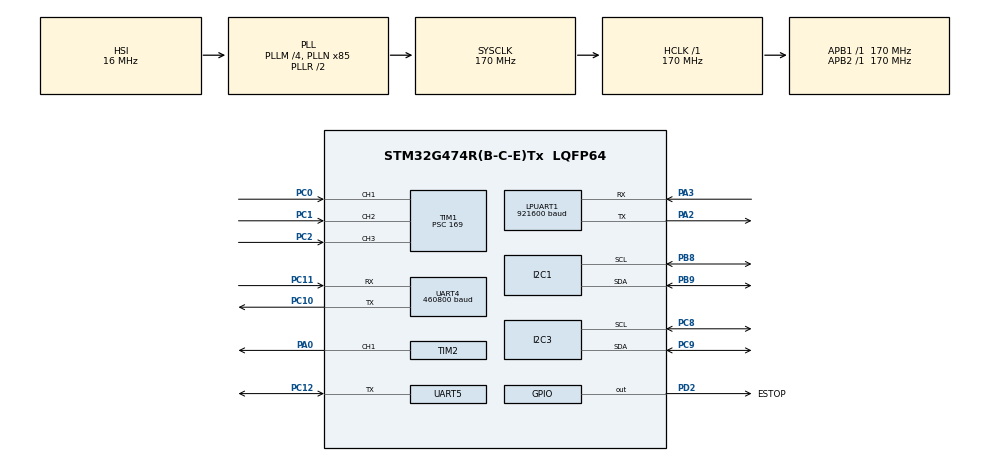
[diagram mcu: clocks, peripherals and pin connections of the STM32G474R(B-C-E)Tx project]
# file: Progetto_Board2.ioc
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Dma.Request0=TIM1_CH1
Dma.Request1=TIM1_CH2
Dma.Request2=TIM1_CH3
Dma.Request3=UART4_TX
Dma.Request4=UART4_RX
Dma.TIM1_CH1.0.Direction=DMA_PERIPH_TO_MEMORY
Dma.TIM1_CH1.0.EventEnable=DISABLE
Dma.TIM1_CH1.0.Instance=DMA1_Channel1
Dma.TIM1_CH1.0.MemDataAlignment=DMA_MDATAALIGN_HALFWORD
Dma.TIM1_CH1.0.MemInc=DMA_MINC_ENABLE
Dma.TIM1_CH1.0.Mode=DMA_CIRCULAR
Dma.TIM1_CH1.0.PeriphDataAlignment=DMA_PDATAALIGN_HALFWORD
Dma.TIM1_CH1.0.PeriphInc=DMA_PINC_DISABLE
Dma.TIM1_CH1.0.Polarity=HAL_DMAMUX_REQ_GEN_RISING
Dma.TIM1_CH1.0.Priority=DMA_PRIORITY_LOW
Dma.TIM1_CH1.0.RequestNumber=1
Dma.TIM1_CH1.0.SignalID=NONE
Dma.TIM1_CH1.0.SyncEnable=DISABLE
Dma.TIM1_CH1.0.SyncPolarity=HAL_DMAMUX_SYNC_NO_EVENT
Dma.TIM1_CH1.0.SyncRequestNumber=1
Dma.TIM1_CH1.0.SyncSignalID=NONE
Dma.TIM1_CH2.1.Direction=DMA_PERIPH_TO_MEMORY
Dma.TIM1_CH2.1.EventEnable=DISABLE
Dma.TIM1_CH2.1.Instance=DMA1_Channel2
Dma.TIM1_CH2.1.MemDataAlignment=DMA_MDATAALIGN_HALFWORD
Dma.TIM1_CH2.1.MemInc=DMA_MINC_ENABLE
Dma.TIM1_CH2.1.Mode=DMA_CIRCULAR
Dma.TIM1_CH2.1.PeriphDataAlignment=DMA_PDATAALIGN_HALFWORD
Dma.TIM1_CH2.1.PeriphInc=DMA_PINC_DISABLE
Dma.TIM1_CH2.1.Polarity=HAL_DMAMUX_REQ_GEN_RISING
Dma.TIM1_CH2.1.Priority=DMA_PRIORITY_LOW
Dma.TIM1_CH2.1.RequestNumber=1
Dma.TIM1_CH2.1.SignalID=NONE
Dma.TIM1_CH2.1.SyncEnable=DISABLE
Dma.TIM1_CH2.1.SyncPolarity=HAL_DMAMUX_SYNC_NO_EVENT
Dma.TIM1_CH2.1.SyncRequestNumber=1
Dma.TIM1_CH2.1.SyncSignalID=NONE
Dma.TIM1_CH3.2.Direction=DMA_PERIPH_TO_MEMORY
Dma.TIM1_CH3.2.EventEnable=DISABLE
Dma.TIM1_CH3.2.Instance=DMA1_Channel3
Dma.TIM1_CH3.2.MemDataAlignment=DMA_MDATAALIGN_HALFWORD
Dma.TIM1_CH3.2.MemInc=DMA_MINC_ENABLE
Dma.TIM1_CH3.2.Mode=DMA_CIRCULAR
Dma.TIM1_CH3.2.PeriphDataAlignment=DMA_PDATAALIGN_HALFWORD
Dma.TIM1_CH3.2.PeriphInc=DMA_PINC_DISABLE
Dma.TIM1_CH3.2.Polarity=HAL_DMAMUX_REQ_GEN_RISING
Dma.TIM1_CH3.2.Priority=DMA_PRIORITY_LOW
Dma.TIM1_CH3.2.RequestNumber=1
Dma.TIM1_CH3.2.SignalID=NONE
Dma.TIM1_CH3.2.SyncEnable=DISABLE
Dma.TIM1_CH3.2.SyncPolarity=HAL_DMAMUX_SYNC_NO_EVENT
Dma.TIM1_CH3.2.SyncRequestNumber=1
Dma.TIM1_CH3.2.SyncSignalID=NONE
Dma.UART4_RX.4.Direction=DMA_PERIPH_TO_MEMORY
Dma.UART4_RX.4.EventEnable=DISABLE
Dma.UART4_RX.4.Instance=DMA1_Channel5
Dma.UART4_RX.4.MemDataAlignment=DMA_MDATAALIGN_BYTE
Dma.UART4_RX.4.MemInc=DMA_MINC_ENABLE
Dma.UART4_RX.4.Mode=DMA_CIRCULAR
Dma.UART4_RX.4.PeriphDataAlignment=DMA_PDATAALIGN_BYTE
Dma.UART4_RX.4.PeriphInc=DMA_PINC_DISABLE
Dma.UART4_RX.4.Polarity=HAL_DMAMUX_REQ_GEN_RISING
Dma.UART4_RX.4.Priority=DMA_PRIORITY_LOW
Dma.UART4_RX.4.RequestNumber=1
Dma.UART4_RX.4.SignalID=NONE
Dma.UART4_RX.4.SyncEnable=DISABLE
Dma.UART4_RX.4.SyncPolarity=HAL_DMAMUX_SYNC_NO_EVENT
Dma.UART4_RX.4.SyncRequestNumber=1
Dma.UART4_RX.4.SyncSignalID=NONE
Dma.UART4_TX.3.Direction=DMA_MEMORY_TO_PERIPH
Dma.UART4_TX.3.EventEnable=DISABLE
Dma.UART4_TX.3.Instance=DMA1_Channel4
Dma.UART4_TX.3.MemDataAlignment=DMA_MDATAALIGN_BYTE
Dma.UART4_TX.3.MemInc=DMA_MINC_ENABLE
Dma.UART4_TX.3.Mode=DMA_NORMAL
Dma.UART4_TX.3.PeriphDataAlignment=DMA_PDATAALIGN_BYTE
Dma.UART4_TX.3.PeriphInc=DMA_PINC_DISABLE
Dma.UART4_TX.3.Polarity=HAL_DMAMUX_REQ_GEN_RISING
Dma.UART4_TX.3.Priority=DMA_PRIORITY_LOW
Dma.UART4_TX.3.RequestNumber=1
Dma.UART4_TX.3.SignalID=NONE
Dma.UART4_TX.3.SyncEnable=DISABLE
Dma.UART4_TX.3.SyncPolarity=HAL_DMAMUX_SYNC_NO_EVENT
Dma.UART4_TX.3.SyncRequestNumber=1
Dma.UART4_TX.3.SyncSignalID=NONE
FREERTOS.Mutexes01=mutex_Ble,Static,mutex_BleControlBlock,Available;mutex_Imu,Static,mutex_ImuControlBlock,Available;mutex_UartRx,Static,mutex_UartRxControlBlock,Available;mutex_Sonar,Static,mutex_SonarControlBlock,Available;mutex_Supervisor,Static,mutex_SupervisorControlBlock,Available
FREERTOS.Tasks01=defaultTask,24,128,StartDefaultTask,Default,NULL,Static,defaultTaskBuffer,defaultTaskControlBlock;Task_ReadBLE,24,256,StartTask_ReadBLE,Default,NULL,Static,Task_ReadBLEBuffer,Task_ReadBLEControlBlock;Task_ReadIMU,8,256,StartTask_ReadIMU,Default,NULL,Static,Task_ReadIMUBuffer,Task_ReadIMUControlBlock;Task_ReadSonars,32,256,StartTask_ReadSonars,Default,NULL,Static,Task_ReadSonarsBuffer,Task_ReadSonarsControlBlock;Task_Rx,24,256,StartTask_Rx,Default,NULL,Static,Task_RxBuffer,Task_RxControlBlock;Task_Tx,32,256,StartTask_Tx,Default,NULL,Static,Task_TxBuffer,Task_TxControlBlock;Task_Supervisor,32,256,StartTask_Supervisor,Default,NULL,Static,Task_SupervisorBuffer,Task_SupervisorControlBlock;Task_Log,8,512,StartTask_Log,Default,NULL,Static,Task_LogBuffer,Task_LogControlBlock
FREERTOS.configCHECK_FOR_STACK_OVERFLOW=2
FREERTOS.configTOTAL_HEAP_SIZE=1500
FREERTOS.configUSE_NEWLIB_REENTRANT=1
I2C1.CustomTiming=Enabled
I2C1.Speed=100
I2C1.Timing=0x40B285C2
I2C3.Timing=0x40B285C2
LPUART1.BaudRate=921600
Mcu.Family=STM32G4
Mcu.Name=STM32G474R(B-C-E)Tx
Mcu.Package=LQFP64
NVIC.DMA1_Channel1_IRQn=true\:5\:0\:false\:false\:true\:true\:false\:true\:true
NVIC.DMA1_Channel2_IRQn=true\:5\:0\:false\:false\:true\:true\:false\:true\:true
NVIC.DMA1_Channel3_IRQn=true\:5\:0\:false\:false\:true\:true\:false\:true\:true
NVIC.DMA1_Channel4_IRQn=true\:5\:0\:false\:false\:true\:true\:false\:true\:true
NVIC.DMA1_Channel5_IRQn=true\:5\:0\:false\:false\:true\:true\:false\:true\:true
NVIC.PriorityGroup=NVIC_PRIORITYGROUP_4
NVIC.TIM6_DAC_IRQn=true\:15\:0\:false\:false\:true\:false\:false\:true\:true
NVIC.TimeBase=TIM6_DAC_IRQn
NVIC.TimeBaseIP=TIM6
NVIC.UART4_IRQn=true\:5\:0\:false\:false\:true\:true\:true\:true\:true
NVIC.UART5_IRQn=true\:5\:0\:false\:false\:true\:true\:true\:true\:true
PA0.Signal=S_TIM2_CH1
PA2.Mode=Asynchronous
PA2.Signal=LPUART1_TX
PA3.Mode=Asynchronous
PA3.Signal=LPUART1_RX
PB8-BOOT0.GPIO_Pu=GPIO_PULLUP
PB8-BOOT0.Mode=I2C
PB8-BOOT0.Signal=I2C1_SCL
PB9.GPIO_Pu=GPIO_PULLUP
PB9.Mode=I2C
PB9.Signal=I2C1_SDA
PC0.Signal=S_TIM1_CH1
PC1.Signal=S_TIM1_CH2
PC10.Mode=Asynchronous
PC10.Signal=UART4_TX
PC11.Mode=Asynchronous
PC11.Signal=UART4_RX
PC12.Mode=Half_duplex(single_wire_mode)
PC12.Signal=UART5_TX
PC2.Signal=S_TIM1_CH3
PC8.GPIO_Pu=GPIO_PULLUP
PC8.Mode=I2C
PC8.Signal=I2C3_SCL
PC9.GPIO_Pu=GPIO_PULLUP
PC9.Mode=I2C
PC9.Signal=I2C3_SDA
PD2.GPIO_Label=ESTOP
PD2.GPIO_PuPd=GPIO_PULLUP
PD2.Signal=GPIO_Output
ProjectManager.HeapSize=0x200
ProjectManager.StackSize=0x400
ProjectManager.TargetToolchain=STM32CubeIDE
RCC.ADC12Freq_Value=170000000
RCC.ADC345Freq_Value=170000000
RCC.AHBFreq_Value=170000000
RCC.APB1Freq_Value=170000000
RCC.APB1TimFreq_Value=170000000
RCC.APB2Freq_Value=170000000
RCC.APB2TimFreq_Value=170000000
RCC.CortexFreq_Value=170000000
RCC.EXTERNAL_CLOCK_VALUE=12288000
RCC.HCLKFreq_Value=170000000
RCC.HSE_VALUE=8000000
RCC.HSI48_VALUE=48000000
RCC.HSI_VALUE=16000000
RCC.LSE_VALUE=32768
RCC.PLLM=RCC_PLLM_DIV4
RCC.PLLN=85
RCC.SYSCLKFreq_VALUE=170000000
RCC.SYSCLKSource=RCC_SYSCLKSOURCE_PLLCLK
RCC.USBFreq_Value=170000000
RCC.VCOOutputFreq_Value=340000000
SH.S_TIM1_CH1.0=TIM1_CH1,Input_Capture1_from_TI1
SH.S_TIM1_CH2.0=TIM1_CH2,Input_Capture2_from_TI2
SH.S_TIM1_CH3.0=TIM1_CH3,Input_Capture3_from_TI3
SH.S_TIM2_CH1.0=TIM2_CH1,PWM Generation1 CH1
TIM1.Channel-Input_Capture1_from_TI1=TIM_CHANNEL_1
TIM1.Channel-Input_Capture2_from_TI2=TIM_CHANNEL_2
TIM1.Channel-Input_Capture3_from_TI3=TIM_CHANNEL_3
TIM1.ICFilter_CH1=10
TIM1.ICFilter_CH2=10
TIM1.ICFilter_CH3=10
TIM1.ICPolarity_CH1=TIM_INPUTCHANNELPOLARITY_BOTHEDGE
TIM1.ICPolarity_CH2=TIM_INPUTCHANNELPOLARITY_BOTHEDGE
TIM1.ICPolarity_CH3=TIM_INPUTCHANNELPOLARITY_BOTHEDGE
TIM1.Prescaler=169
TIM2.Channel-PWM\ Generation1\ CH1=TIM_CHANNEL_1
TIM2.OCPolarity_1=TIM_OCPOLARITY_LOW
TIM2.PeriodNoDither=19
TIM2.Prescaler=169
TIM2.PulseNoDither_1=10
UART4.BaudRate=460800
UART5.BaudRate=38400
VP_FREERTOS_VS_CMSIS_V2.Mode=CMSIS_V2
VP_SYS_VS_DBSignals.Mode=DisableDeadBatterySignals
VP_SYS_VS_tim6.Mode=TIM6
VP_TIM2_VS_OPM.Mode=OPM_bit
board=custom

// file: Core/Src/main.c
/* USER CODE BEGIN Header */
/**
  ******************************************************************************
  * @file           : main.c
  * @brief          : Main program body
  ******************************************************************************
  * @attention
  *
  * Copyright (c) 2026 STMicroelectronics.
  * All rights reserved.
  *
  * This software is licensed under terms that can be found in the LICENSE file
  * in the root directory of this software component.
  * If no LICENSE file comes with this software, it is provided AS-IS.
  *
  ******************************************************************************
  */
/* USER CODE END Header */
#include "main.h"
#include "cmsis_os.h"
#include "dma.h"
#include "i2c.h"
#include "usart.h"
#include "tim.h"
#include "gpio.h"

/* USER CODE BEGIN Includes */
#include "comm/comm_uart.h"
/* USER CODE END Includes */

void SystemClock_Config(void);
void MX_FREERTOS_Init(void);
/* USER CODE BEGIN PFP */
#include "core_cm4.h"
  void DWT_Init(void)
  {
      CoreDebug->DEMCR |= CoreDebug_DEMCR_TRCENA_Msk;
      DWT->CYCCNT = 0;
      DWT->CTRL |= DWT_CTRL_CYCCNTENA_Msk;
  }
/* USER CODE END PFP */

int main(void)
{

  /* MCU Configuration--------------------------------------------------------*/

  /* Reset of all peripherals, Initializes the Flash interface and the Systick. */
  HAL_Init();

  /* Configure the system clock */
  SystemClock_Config();

  /* Initialize all configured peripherals */
  MX_GPIO_Init();
  MX_DMA_Init();
  MX_TIM1_Init();
  MX_TIM2_Init();
  MX_I2C1_Init();
  MX_LPUART1_UART_Init();
  MX_UART4_Init();
  MX_I2C3_Init();
  MX_UART5_Init();
  /* USER CODE BEGIN 2 */
  DWT_Init();
  CommUart_EarlyInit();  // aggiunto

  /* USER CODE END 2 */

  /* Init scheduler */
  osKernelInitialize();  /* Call init function for freertos objects (in cmsis_os2.c) */
  MX_FREERTOS_Init();

  /* Start scheduler */
  osKernelStart();

  /* We should never get here as control is now taken by the scheduler */

  /* Infinite loop */
  while (1)
  {

  }
}

void SystemClock_Config(void)
{
  RCC_OscInitTypeDef RCC_OscInitStruct = {0};
  RCC_ClkInitTypeDef RCC_ClkInitStruct = {0};

  /** Configure the main internal regulator output voltage
  */
  HAL_PWREx_ControlVoltageScaling(PWR_REGULATOR_VOLTAGE_SCALE1_BOOST);

  /** Initializes the RCC Oscillators according to the specified parameters
  * in the RCC_OscInitTypeDef structure.
  */
  RCC_OscInitStruct.OscillatorType = RCC_OSCILLATORTYPE_HSI;
  RCC_OscInitStruct.HSIState = RCC_HSI_ON;
  RCC_OscInitStruct.HSICalibrationValue = RCC_HSICALIBRATION_DEFAULT;
  RCC_OscInitStruct.PLL.PLLState = RCC_PLL_ON;
  RCC_OscInitStruct.PLL.PLLSource = RCC_PLLSOURCE_HSI;
  RCC_OscInitStruct.PLL.PLLM = RCC_PLLM_DIV4;
  RCC_OscInitStruct.PLL.PLLN = 85;
  RCC_OscInitStruct.PLL.PLLP = RCC_PLLP_DIV2;
  RCC_OscInitStruct.PLL.PLLQ = RCC_PLLQ_DIV2;
  RCC_OscInitStruct.PLL.PLLR = RCC_PLLR_DIV2;
  if (HAL_RCC_OscConfig(&RCC_OscInitStruct) != HAL_OK)
  {
    Error_Handler();
  }

  /** Initializes the CPU, AHB and APB buses clocks
  */
  RCC_ClkInitStruct.ClockType = RCC_CLOCKTYPE_HCLK|RCC_CLOCKTYPE_SYSCLK
                              |RCC_CLOCKTYPE_PCLK1|RCC_CLOCKTYPE_PCLK2;
  RCC_ClkInitStruct.SYSCLKSource = RCC_SYSCLKSOURCE_PLLCLK;
  RCC_ClkInitStruct.AHBCLKDivider = RCC_SYSCLK_DIV1;
  RCC_ClkInitStruct.APB1CLKDivider = RCC_HCLK_DIV1;
  RCC_ClkInitStruct.APB2CLKDivider = RCC_HCLK_DIV1;

  if (HAL_RCC_ClockConfig(&RCC_ClkInitStruct, FLASH_LATENCY_4) != HAL_OK)
  {
    Error_Handler();
  }
}

void HAL_TIM_PeriodElapsedCallback(TIM_HandleTypeDef *htim)
{
  if (htim->Instance == TIM6)
  {
    HAL_IncTick();
  }
}

void Error_Handler(void)
{
  __disable_irq();
  while (1)
  {
  }
}

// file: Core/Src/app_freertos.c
/* USER CODE BEGIN Header */
/**
  ******************************************************************************
  * File Name          : app_freertos.c
  * Description        : Code for freertos applications
  ******************************************************************************
  * @attention
  *
  * Copyright (c) 2026 STMicroelectronics.
  * All rights reserved.
  *
  * This software is licensed under terms that can be found in the LICENSE file
  * in the root directory of this software component.
  * If no LICENSE file comes with this software, it is provided AS-IS.
  *
  ******************************************************************************
  */
/* USER CODE END Header */

#include "FreeRTOS.h"
#include "task.h"
#include "main.h"
#include "cmsis_os.h"

/* USER CODE BEGIN Includes */
#include "BLE_Controller/ble_controller_task.h"
#include "comm/comm_rx_task.h"
#include "comm/comm_tx_task.h"
#include "IMU/imu_task.h"
#include "sonar/sonar_task.h"
#include "log/log_task.h"
#include "supervisor/supervisor_task.h"
#include "snapshot/snapshot.h"
/* USER CODE END Includes */

typedef StaticTask_t osStaticThreadDef_t;
typedef StaticSemaphore_t osStaticMutexDef_t;

/* USER CODE BEGIN PD */
/** @brief Periodo task BLE [ms]. */
#define TASK_BLE_PERIOD_MS         20U
/** @brief Periodo task IMU [ms]. */
#define TASK_IMU_PERIOD_MS         20U
/** @brief Periodo task sonar [ms]. */
#define TASK_SONAR_PERIOD_MS       60U
/** @brief Periodo task TX [ms]. */
#define TASK_TX_PERIOD_MS          20U
/** @brief Periodo task supervisore [ms]. */
#define TASK_SUPERVISOR_PERIOD_MS  20U
/** @brief Periodo task log [ms]. */
#define TASK_LOG_PERIOD_MS      1000U

/* USER CODE END PD */

/* Definitions for defaultTask */
osThreadId_t defaultTaskHandle;
uint32_t defaultTaskBuffer[ 128 ];
osStaticThreadDef_t defaultTaskControlBlock;
const osThreadAttr_t defaultTask_attributes = {
  .name = "defaultTask",
  .stack_mem = &defaultTaskBuffer[0],
  .stack_size = sizeof(defaultTaskBuffer),
  .cb_mem = &defaultTaskControlBlock,
  .cb_size = sizeof(defaultTaskControlBlock),
  .priority = (osPriority_t) osPriorityNormal,
};
/* Definitions for Task_ReadBLE */
osThreadId_t Task_ReadBLEHandle;
uint32_t Task_ReadBLEBuffer[ 256 ];
osStaticThreadDef_t Task_ReadBLEControlBlock;
const osThreadAttr_t Task_ReadBLE_attributes = {
  .name = "Task_ReadBLE",
  .stack_mem = &Task_ReadBLEBuffer[0],
  .stack_size = sizeof(Task_ReadBLEBuffer),
  .cb_mem = &Task_ReadBLEControlBlock,
  .cb_size = sizeof(Task_ReadBLEControlBlock),
  .priority = (osPriority_t) osPriorityNormal,
};
/* Definitions for Task_ReadIMU */
osThreadId_t Task_ReadIMUHandle;
uint32_t Task_ReadIMUBuffer[ 256 ];
osStaticThreadDef_t Task_ReadIMUControlBlock;
const osThreadAttr_t Task_ReadIMU_attributes = {
  .name = "Task_ReadIMU",
  .stack_mem = &Task_ReadIMUBuffer[0],
  .stack_size = sizeof(Task_ReadIMUBuffer),
  .cb_mem = &Task_ReadIMUControlBlock,
  .cb_size = sizeof(Task_ReadIMUControlBlock),
  .priority = (osPriority_t) osPriorityLow,
};
/* Definitions for Task_ReadSonars */
osThreadId_t Task_ReadSonarsHandle;
uint32_t Task_ReadSonarsBuffer[ 256 ];
osStaticThreadDef_t Task_ReadSonarsControlBlock;
const osThreadAttr_t Task_ReadSonars_attributes = {
  .name = "Task_ReadSonars",
  .stack_mem = &Task_ReadSonarsBuffer[0],
  .stack_size = sizeof(Task_ReadSonarsBuffer),
  .cb_mem = &Task_ReadSonarsControlBlock,
  .cb_size = sizeof(Task_ReadSonarsControlBlock),
  .priority = (osPriority_t) osPriorityAboveNormal,
};
/* Definitions for Task_Rx */
osThreadId_t Task_RxHandle;
uint32_t Task_RxBuffer[ 256 ];
osStaticThreadDef_t Task_RxControlBlock;
const osThreadAttr_t Task_Rx_attributes = {
  .name = "Task_Rx",
  .stack_mem = &Task_RxBuffer[0],
  .stack_size = sizeof(Task_RxBuffer),
  .cb_mem = &Task_RxControlBlock,
  .cb_size = sizeof(Task_RxControlBlock),
  .priority = (osPriority_t) osPriorityNormal,
};
/* Definitions for Task_Tx */
osThreadId_t Task_TxHandle;
uint32_t Task_TxBuffer[ 256 ];
osStaticThreadDef_t Task_TxControlBlock;
const osThreadAttr_t Task_Tx_attributes = {
  .name = "Task_Tx",
  .stack_mem = &Task_TxBuffer[0],
  .stack_size = sizeof(Task_TxBuffer),
  .cb_mem = &Task_TxControlBlock,
  .cb_size = sizeof(Task_TxControlBlock),
  .priority = (osPriority_t) osPriorityAboveNormal,
};
/* Definitions for Task_Supervisor */
osThreadId_t Task_SupervisorHandle;
uint32_t Task_SupervisorBuffer[ 256 ];
osStaticThreadDef_t Task_SupervisorControlBlock;
const osThreadAttr_t Task_Supervisor_attributes = {
  .name = "Task_Supervisor",
  .stack_mem = &Task_SupervisorBuffer[0],
  .stack_size = sizeof(Task_SupervisorBuffer),
  .cb_mem = &Task_SupervisorControlBlock,
  .cb_size = sizeof(Task_SupervisorControlBlock),
  .priority = (osPriority_t) osPriorityAboveNormal,
};
/* Definitions for Task_Log */
osThreadId_t Task_LogHandle;
uint32_t Task_LogBuffer[ 512 ];
osStaticThreadDef_t Task_LogControlBlock;
const osThreadAttr_t Task_Log_attributes = {
  .name = "Task_Log",
  .stack_mem = &Task_LogBuffer[0],
  .stack_size = sizeof(Task_LogBuffer),
  .cb_mem = &Task_LogControlBlock,
  .cb_size = sizeof(Task_LogControlBlock),
  .priority = (osPriority_t) osPriorityLow,
};
/* Definitions for mutex_Ble */
osMutexId_t mutex_BleHandle;
osStaticMutexDef_t mutex_BleControlBlock;
const osMutexAttr_t mutex_Ble_attributes = {
  .name = "mutex_Ble",
  .cb_mem = &mutex_BleControlBlock,
  .cb_size = sizeof(mutex_BleControlBlock),
};
/* Definitions for mutex_Imu */
osMutexId_t mutex_ImuHandle;
osStaticMutexDef_t mutex_ImuControlBlock;
const osMutexAttr_t mutex_Imu_attributes = {
  .name = "mutex_Imu",
  .cb_mem = &mutex_ImuControlBlock,
  .cb_size = sizeof(mutex_ImuControlBlock),
};
/* Definitions for mutex_UartRx */
osMutexId_t mutex_UartRxHandle;
osStaticMutexDef_t mutex_UartRxControlBlock;
const osMutexAttr_t mutex_UartRx_attributes = {
  .name = "mutex_UartRx",
  .cb_mem = &mutex_UartRxControlBlock,
  .cb_size = sizeof(mutex_UartRxControlBlock),
};
/* Definitions for mutex_Sonar */
osMutexId_t mutex_SonarHandle;
osStaticMutexDef_t mutex_SonarControlBlock;
const osMutexAttr_t mutex_Sonar_attributes = {
  .name = "mutex_Sonar",
  .cb_mem = &mutex_SonarControlBlock,
  .cb_size = sizeof(mutex_SonarControlBlock),
};
/* Definitions for mutex_Supervisor */
osMutexId_t mutex_SupervisorHandle;
osStaticMutexDef_t mutex_SupervisorControlBlock;
const osMutexAttr_t mutex_Supervisor_attributes = {
  .name = "mutex_Supervisor",
  .cb_mem = &mutex_SupervisorControlBlock,
  .cb_size = sizeof(mutex_SupervisorControlBlock),
};

void StartDefaultTask(void *argument);
void StartTask_ReadBLE(void *argument);
void StartTask_ReadIMU(void *argument);
void StartTask_ReadSonars(void *argument);
void StartTask_Rx(void *argument);
void StartTask_Tx(void *argument);
void StartTask_Supervisor(void *argument);
void StartTask_Log(void *argument);

void MX_FREERTOS_Init(void); /* (MISRA C 2004 rule 8.1) */

/* Hook prototypes */
void vApplicationStackOverflowHook(xTaskHandle xTask, signed char *pcTaskName);

/* USER CODE BEGIN 4 */
void vApplicationStackOverflowHook(xTaskHandle xTask, signed char *pcTaskName)
{
   (void)xTask;
   (void)pcTaskName;
   /* Run time stack overflow checking is performed if
   configCHECK_FOR_STACK_OVERFLOW is defined to 1 or 2. This hook function is
   called if a stack overflow is detected. */
}
/* USER CODE END 4 */

void MX_FREERTOS_Init(void) {
  /* Create the mutex(es) */
  /* creation of mutex_Ble */
  mutex_BleHandle = osMutexNew(&mutex_Ble_attributes);

  /* creation of mutex_Imu */
  mutex_ImuHandle = osMutexNew(&mutex_Imu_attributes);

  /* creation of mutex_UartRx */
  mutex_UartRxHandle = osMutexNew(&mutex_UartRx_attributes);

  /* creation of mutex_Sonar */
  mutex_SonarHandle = osMutexNew(&mutex_Sonar_attributes);

  /* creation of mutex_Supervisor */
  mutex_SupervisorHandle = osMutexNew(&mutex_Supervisor_attributes);

  /* USER CODE BEGIN RTOS_MUTEX */
  BleControllerSnapshot_MutexInit(mutex_BleHandle);
  IMUSnapshot_MutexInit(mutex_ImuHandle);
  RxSnapshot_MutexInit(mutex_UartRxHandle);
  SonarSnapshot_MutexInit(mutex_SonarHandle);
  SupervisorSnapshot_MutexInit(mutex_SupervisorHandle);
  /* USER CODE END RTOS_MUTEX */

  /* Create the thread(s) */
  /* creation of defaultTask */
  defaultTaskHandle = osThreadNew(StartDefaultTask, NULL, &defaultTask_attributes);

  /* creation of Task_ReadBLE */
  Task_ReadBLEHandle = osThreadNew(StartTask_ReadBLE, NULL, &Task_ReadBLE_attributes);

  /* creation of Task_ReadIMU */
  Task_ReadIMUHandle = osThreadNew(StartTask_ReadIMU, NULL, &Task_ReadIMU_attributes);

  /* creation of Task_ReadSonars */
  Task_ReadSonarsHandle = osThreadNew(StartTask_ReadSonars, NULL, &Task_ReadSonars_attributes);

  /* creation of Task_Rx */
  Task_RxHandle = osThreadNew(StartTask_Rx, NULL, &Task_Rx_attributes);

  /* creation of Task_Tx */
  Task_TxHandle = osThreadNew(StartTask_Tx, NULL, &Task_Tx_attributes);

  /* creation of Task_Supervisor */
  Task_SupervisorHandle = osThreadNew(StartTask_Supervisor, NULL, &Task_Supervisor_attributes);

  /* creation of Task_Log */
  Task_LogHandle = osThreadNew(StartTask_Log, NULL, &Task_Log_attributes);

}

void StartDefaultTask(void *argument)
{
  /* USER CODE BEGIN StartDefaultTask */
  /* Infinite loop */
  for(;;)
  {
    osDelay(10000);
  }
  /* USER CODE END StartDefaultTask */
}

void StartTask_ReadBLE(void *argument)
{
  /* USER CODE BEGIN StartTask_ReadBLE */
    (void)argument;

    TickType_t lastWakeTime = xTaskGetTickCount();

    for (;;)
    {
        BleController_TaskStep();

        lastWakeTime += TASK_BLE_PERIOD_MS;
        osDelayUntil(lastWakeTime);
    }
  /* USER CODE END StartTask_ReadBLE */
}

void StartTask_ReadIMU(void *argument)
{
  /* USER CODE BEGIN StartTask_ReadIMU */
    (void)argument;
    IMU_TaskInit();
    TickType_t lastWakeTime = xTaskGetTickCount();

    for (;;)
    {
        IMU_TaskStep();

        lastWakeTime += TASK_IMU_PERIOD_MS;
        osDelayUntil(lastWakeTime);
    }
  /* USER CODE END StartTask_ReadIMU */
}

void StartTask_ReadSonars(void *argument)
{
  /* USER CODE BEGIN StartTask_ReadSonars */
    (void)argument;
    Sonar_TaskInit();
    TickType_t lastWakeTime = xTaskGetTickCount();

    for (;;)
    {
        Sonar_TaskStep();

        lastWakeTime += TASK_SONAR_PERIOD_MS;
        osDelayUntil(lastWakeTime);
    }
  /* USER CODE END StartTask_ReadSonars */
}

void StartTask_Rx(void *argument)
{
  /* USER CODE BEGIN StartTask_Rx */
  (void)argument;
  Rx_TaskInit();

  /* Infinite loop */
  for (;;)
  {
    Rx_TaskStep();
  }
  /* USER CODE END StartTask_Rx */
}

void StartTask_Tx(void *argument)
{
  /* USER CODE BEGIN StartTask_Tx */
    (void)argument;
    TickType_t lastWakeTime = xTaskGetTickCount();

    for (;;)
    {
        Tx_TaskStep();

        lastWakeTime += TASK_TX_PERIOD_MS;
        osDelayUntil(lastWakeTime);
    }
  /* USER CODE END StartTask_Tx */
}

void StartTask_Supervisor(void *argument)
{
  /* USER CODE BEGIN StartTask_Supervisor */
  (void)argument;
  Supervisor_TaskInit();
  TickType_t lastWakeTime = osKernelGetTickCount();

  /* Infinite loop */
  for (;;)
  {
      Supervisor_TaskStep();

      lastWakeTime += TASK_SUPERVISOR_PERIOD_MS;
      osDelayUntil(lastWakeTime);
  }
  /* USER CODE END StartTask_Supervisor */
}

void StartTask_Log(void *argument)
{
  /* USER CODE BEGIN StartTask_Log */
    (void)argument;
  /* Infinite loop */
    TickType_t lastWakeTime = xTaskGetTickCount();

    for (;;)
    {
        Log_TaskStep();

        lastWakeTime += TASK_LOG_PERIOD_MS;
        osDelayUntil(lastWakeTime);
    }
  /* USER CODE END StartTask_Log */
}
